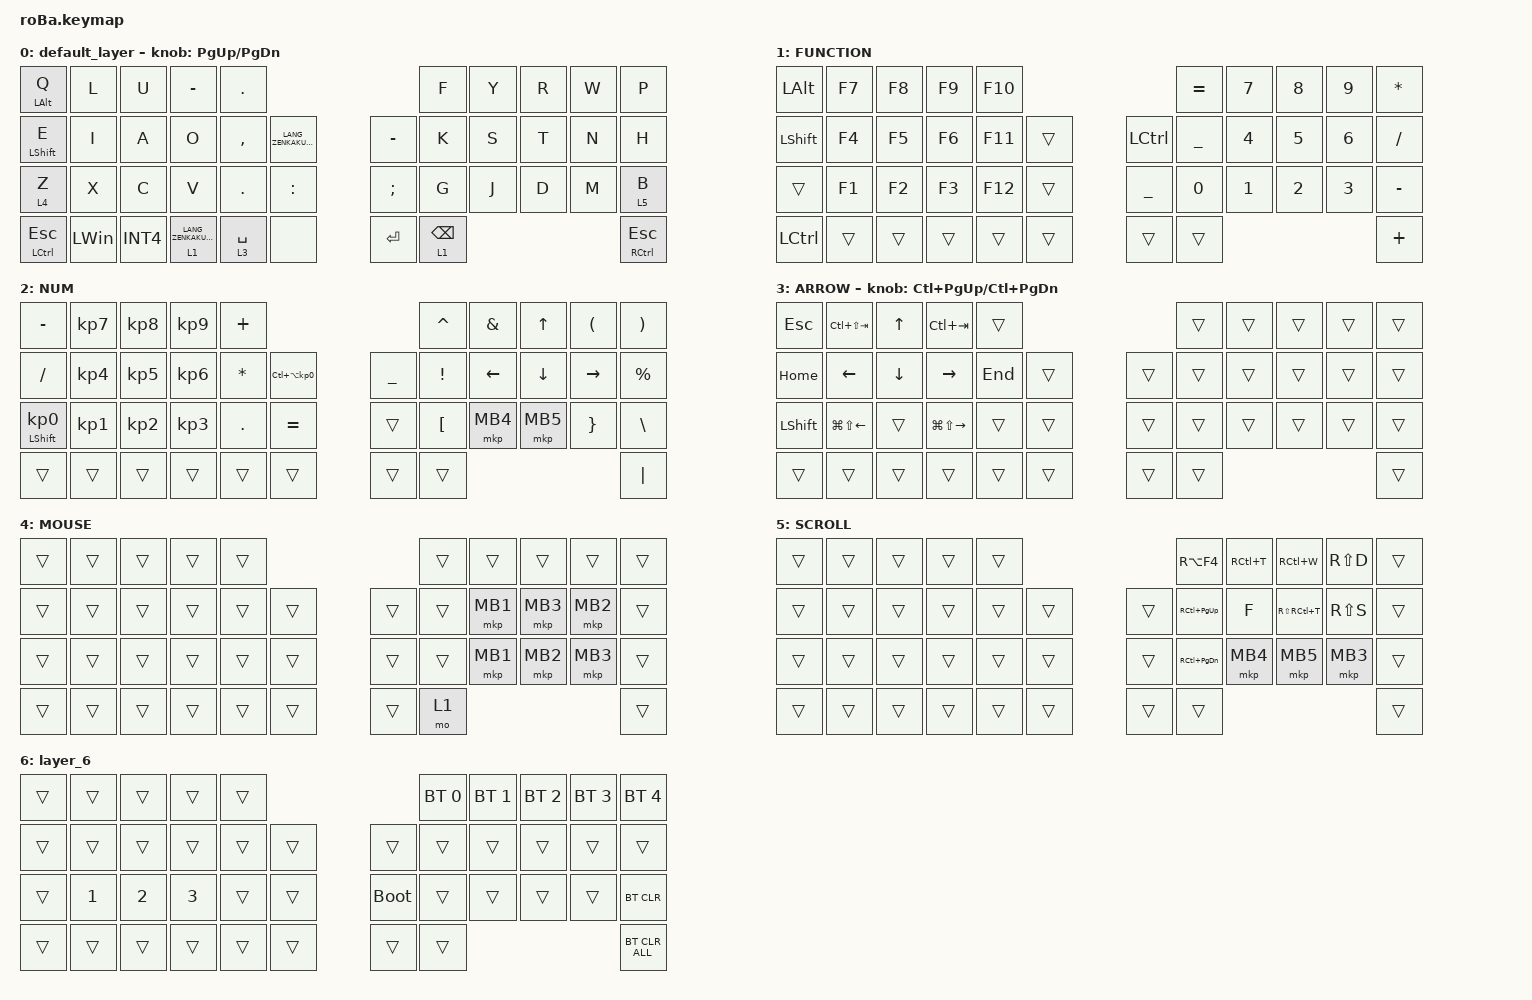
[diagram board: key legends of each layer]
#include <behaviors.dtsi>
#include <dt-bindings/zmk/bt.h>
#include <dt-bindings/zmk/keys.h>
#include <dt-bindings/zmk/pointing.h>

#define MOUSE 4
#define SCROLL 5
#define NUM 6

&mt {
    flavor = "balanced";
    quick-tap-ms = <0>;
};

/ {
    combos {
        compatible = "zmk,combos";

        tab {
            bindings = <&kp TAB>;
            key-positions = <11 12>;
        };

        shift_tab {
            bindings = <&kp LS(TAB)>;
            key-positions = <12 13>;
        };

        muhennkann {
            bindings = <&to_layer_0 INT_MUHENKAN>;
            key-positions = <11 10>;
        };

        double_quotation {
            bindings = <&kp DOUBLE_QUOTES>;
            key-positions = <20 21>;
        };

        eq {
            bindings = <&kp EQUAL>;
            key-positions = <24 25>;
        };
    };

    macros {
        to_layer_0: to_layer_0 {
            compatible = "zmk,behavior-macro-one-param";
            #binding-cells = <1>;
            bindings = <&to 0 &macro_param_1to1 &kp MACRO_PLACEHOLDER>;
            label = "TO_LAYER_0";
        };
    };

    keymap {
        compatible = "zmk,keymap";

        default_layer {
            bindings = <
&mt LALT Q        &kp L         &kp U     &kp MINUS                  &kp PERIOD                                               &kp F            &kp Y  &kp R  &kp W  &kp P
&mt LEFT_SHIFT E  &kp I         &kp A     &kp O                      &kp COMMA    &kp LANG_ZENKAKUHANKAKU      &kp MINUS      &kp K            &kp S  &kp T  &kp N  &kp H
&lt 4 Z           &kp X         &kp C     &kp V                      &kp PERIOD   &kp COLON                    &kp SEMICOLON  &kp G            &kp J  &kp D  &kp M  &lt 5 B
&mt LCTRL ESC     &kp LEFT_WIN  &kp INT4  &lt 1 LANG_ZENKAKUHANKAKU  &lt 3 SPACE  &none                        &kp ENTER      &lt 1 BACKSPACE                       &mt RCTRL ESCAPE
            >;

            sensor-bindings = <&inc_dec_kp PG_UP PAGE_DOWN>;
        };

        FUNCTION {
            bindings = <
&kp LEFT_ALT  &kp F7  &kp F8  &kp F9  &kp F10                              &kp EQUAL       &kp N7        &kp NUMBER_8  &kp N9        &kp ASTERISK
&kp LSHIFT    &kp F4  &kp F5  &kp F6  &kp F11  &trans      &kp LCTRL       &kp UNDERSCORE  &kp NUMBER_4  &kp N5        &kp NUMBER_6  &kp SLASH
&trans        &kp F1  &kp F2  &kp F3  &kp F12  &trans      &kp UNDERSCORE  &kp N0          &kp NUMBER_1  &kp NUMBER_2  &kp NUMBER_3  &kp MINUS
&kp LCTRL     &trans  &trans  &trans  &trans   &trans      &trans          &trans                                                    &kp PLUS
            >;
        };

        NUM {
            bindings = <
&kp MINUS                   &kp KP_NUMBER_7  &kp KP_NUMBER_8  &kp KP_NUMBER_9  &kp PLUS                                                   &kp CARET         &kp AMPERSAND   &kp UP_ARROW    &kp LEFT_PARENTHESIS  &kp RIGHT_PARENTHESIS
&kp SLASH                   &kp KP_NUMBER_4  &kp KP_NUMBER_5  &kp KP_NUMBER_6  &kp ASTERISK  &kp LC(LA(KP_NUMBER_0))      &kp UNDERSCORE  &kp EXCLAMATION   &kp LEFT_ARROW  &kp DOWN_ARROW  &kp RIGHT_ARROW       &kp PERCENT
&mt LEFT_SHIFT KP_NUMBER_0  &kp KP_NUMBER_1  &kp KP_NUMBER_2  &kp KP_NUMBER_3  &kp PERIOD    &kp EQUAL                    &trans          &kp LEFT_BRACKET  &mkp MB4        &mkp MB5        &kp RIGHT_BRACE       &kp BACKSLASH
&trans                      &trans           &trans           &trans           &trans        &trans                       &trans          &trans                                                                  &kp PIPE
            >;
        };

        ARROW {
            bindings = <
&kp ESCAPE      &kp LC(LS(TAB))         &kp UP_ARROW    &kp LC(TAB)              &trans                       &trans  &trans  &trans  &trans  &trans
&kp HOME        &kp LEFT_ARROW          &kp DOWN_ARROW  &kp RIGHT_ARROW          &kp END  &trans      &trans  &trans  &trans  &trans  &trans  &trans
&kp LEFT_SHIFT  &kp LG(LS(LEFT_ARROW))  &trans          &kp LG(LS(RIGHT_ARROW))  &trans   &trans      &trans  &trans  &trans  &trans  &trans  &trans
&trans          &trans                  &trans          &trans                   &trans   &trans      &trans  &trans                          &trans
            >;

            sensor-bindings = <&inc_dec_kp LC(PAGE_UP) LC(PAGE_DOWN)>;
        };

        MOUSE {
            bindings = <
&trans  &trans  &trans  &trans  &trans                      &trans  &trans    &trans    &trans    &trans
&trans  &trans  &trans  &trans  &trans  &trans      &trans  &trans  &mkp MB1  &mkp MB3  &mkp MB2  &trans
&trans  &trans  &trans  &trans  &trans  &trans      &trans  &trans  &mkp MB1  &mkp MB2  &mkp MB3  &trans
&trans  &trans  &trans  &trans  &trans  &trans      &trans  &mo 1                                 &trans
            >;
        };

        SCROLL {
            bindings = <
&trans  &trans  &trans  &trans  &trans                      &kp RA(F4)         &kp RC(T)  &kp RC(W)      &kp RS(D)  &trans
&trans  &trans  &trans  &trans  &trans  &trans      &trans  &kp RC(PAGE_UP)    &kp F      &kp RS(RC(T))  &kp RS(S)  &trans
&trans  &trans  &trans  &trans  &trans  &trans      &trans  &kp RC(PAGE_DOWN)  &mkp MB4   &mkp MB5       &mkp MB3   &trans
&trans  &trans  &trans  &trans  &trans  &trans      &trans  &trans                                                  &trans
            >;
        };

        layer_6 {
            bindings = <
&trans  &trans        &trans        &trans        &trans                           &bt BT_SEL 0  &bt BT_SEL 1  &bt BT_SEL 2  &bt BT_SEL 3  &bt BT_SEL 4
&trans  &trans        &trans        &trans        &trans  &trans      &trans       &trans        &trans        &trans        &trans        &trans
&trans  &kp NUMBER_1  &kp NUMBER_2  &kp NUMBER_3  &trans  &trans      &bootloader  &trans        &trans        &trans        &trans        &bt BT_CLR
&trans  &trans        &trans        &trans        &trans  &trans      &trans       &trans                                                  &bt BT_CLR_ALL
            >;
        };
    };
};
